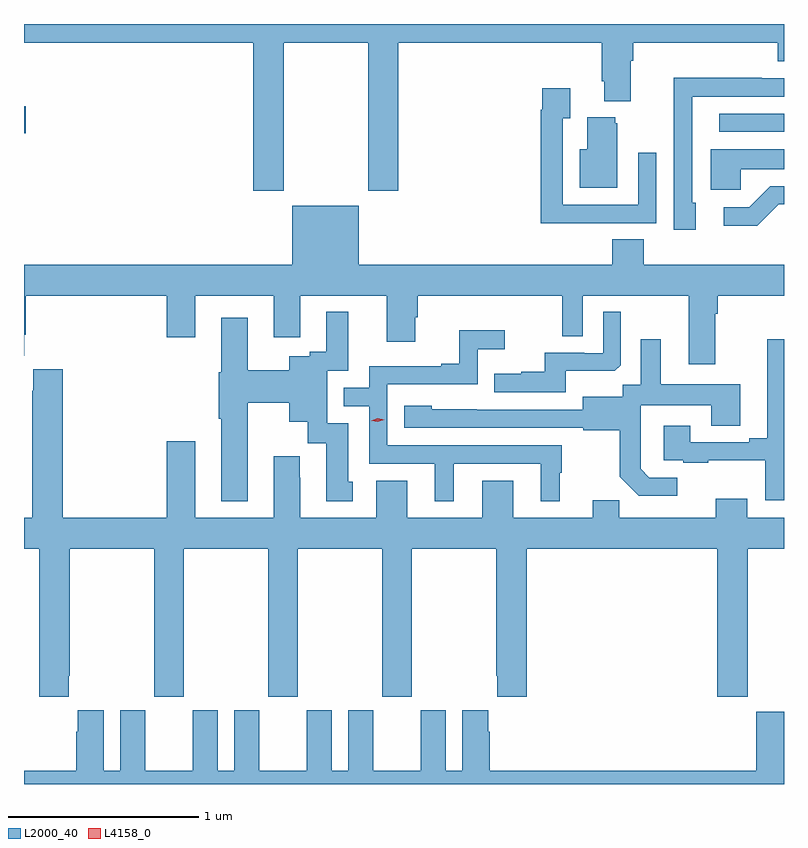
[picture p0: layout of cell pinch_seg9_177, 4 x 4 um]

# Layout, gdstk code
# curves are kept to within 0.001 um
import gdstk
lib = gdstk.Library(unit=1e-6, precision=1e-09)
def R(c, l, rs):  # rectangles x0, y0, x1, y1
    for r in rs: c.add(gdstk.rectangle(r[:2], r[2:], *l))
def P(c, l, *ps):  # polygons
    for p in ps: c.add(gdstk.Polygon(p, *l))
L2000_40 = (2000, 40)
L4158_0 = (4158, 0)

pinch_seg9_177 = lib.new_cell('pinch_seg9_177')
R(pinch_seg9_177, L2000_40, [(791.543,1187.951,791.551,1188.093), (795.201,1187.958,795.543,1188.054)])
P(pinch_seg9_177, L2000_40, [(791.543,1188.428),(792.749,1188.428),(792.749,1187.649),(792.909,1187.649),(792.909,1188.428),(793.354,1188.428),(793.354,1187.649),(793.514,1187.649),(793.514,1188.428),(794.585,1188.428),(794.585,1188.226),(794.597,1188.226),(794.597,1188.119),(794.737,1188.119),(794.737,1188.332),(794.75,1188.332),(794.75,1188.428),(795.509,1188.428),(795.509,1188.329),(795.543,1188.329),(795.543,1188.526),(791.543,1188.526)],
  [(795.079,1187.586),(795.06,1187.586),(795.06,1187.905),(795.061,1187.905),(795.061,1188.144),(795.543,1188.144),(795.543,1188.24),(795.425,1188.24),(795.425,1188.242),(794.962,1188.242),(794.962,1187.935),(794.964,1187.935),(794.964,1187.442),(795.079,1187.442)],
  [(794.555,1187.478),(794.871,1187.478),(794.871,1187.848),(794.775,1187.848),(794.775,1187.574),(794.379,1187.574),(794.379,1188.031),(794.419,1188.031),(794.419,1188.187),(794.271,1188.187),(794.271,1188.074),(794.263,1188.074),(794.263,1187.477),(794.555,1187.477)],
  [(794.665,1188.003),(794.654,1188.003),(794.654,1188.034),(794.507,1188.034),(794.507,1187.866),(794.468,1187.866),(794.468,1187.663),(794.665,1187.663)],
  [(795.315,1187.762),(795.543,1187.762),(795.543,1187.866),(795.158,1187.866),(795.158,1187.654),(795.315,1187.654)],
  [(795.516,1187.577),(795.543,1187.577),(795.543,1187.673),(795.47,1187.673),(795.359,1187.562),(795.225,1187.562),(795.225,1187.465),(795.403,1187.465)],
  [(791.543,1186.779),(791.545,1186.779),(791.545,1186.891),(791.552,1186.891),(791.552,1187.096),(792.293,1187.096),(792.293,1186.878),(792.445,1186.878),(792.445,1187.096),(792.857,1187.096),(792.857,1186.878),(792.997,1186.878),(792.997,1187.096),(793.451,1187.096),(793.451,1186.854),(793.603,1186.854),(793.603,1186.983),(793.616,1186.983),(793.616,1187.096),(794.376,1187.096),(794.376,1186.882),(794.484,1186.882),(794.484,1187.096),(795.041,1187.096),(795.041,1186.734),(795.181,1186.734),(795.181,1187),(795.194,1187),(795.194,1187.096),(795.543,1187.096),(795.543,1187.26),(794.804,1187.26),(794.804,1187.393),(794.639,1187.393),(794.639,1187.26),(793.306,1187.26),(793.306,1187.569),(792.956,1187.569),(792.956,1187.26),(791.543,1187.26)],
  [(794.395,1186.7),(794.653,1186.7),(794.685,1186.731),(794.685,1187.011),(794.592,1187.011),(794.592,1186.794),(794.492,1186.794),(794.492,1186.797),(794.285,1186.797),(794.285,1186.696),(794.161,1186.696),(794.161,1186.684),(794.017,1186.684),(794.017,1186.587),(794.395,1186.587)],
  [(792.721,1186.532),(792.938,1186.532),(792.938,1186.433),(793.037,1186.433),(793.037,1186.32),(793.133,1186.32),(793.133,1186.014),(793.273,1186.014),(793.273,1186.116),(793.249,1186.116),(793.249,1186.425),(793.14,1186.425),(793.14,1186.701),(793.249,1186.701),(793.249,1187.011),(793.133,1187.011),(793.133,1186.802),(793.047,1186.802),(793.047,1186.777),(792.938,1186.777),(792.938,1186.704),(792.721,1186.704),(792.721,1186.981),(792.581,1186.981),(792.581,1186.692),(792.569,1186.692),(792.569,1186.448),(792.581,1186.448),(792.581,1186.013),(792.721,1186.013)],
  [(793.804,1186.212),(794.264,1186.212),(794.264,1186.013),(794.362,1186.013),(794.362,1186.164),(794.374,1186.164),(794.374,1186.308),(793.455,1186.308),(793.455,1186.629),(793.932,1186.629),(793.932,1186.814),(794.074,1186.814),(794.074,1186.913),(793.834,1186.913),(793.834,1186.738),(793.739,1186.738),(793.739,1186.725),(793.359,1186.725),(793.359,1186.611),(793.226,1186.611),(793.226,1186.515),(793.359,1186.515),(793.359,1186.212),(793.706,1186.212),(793.706,1186.013),(793.804,1186.013)],
  [(795.543,1186.867),(795.455,1186.867),(795.455,1186.345),(795.359,1186.345),(795.359,1186.326),(795.049,1186.326),(795.049,1186.411),(794.909,1186.411),(794.909,1186.23),(795.013,1186.23),(795.013,1186.218),(795.145,1186.218),(795.145,1186.229),(795.444,1186.229),(795.444,1186.02),(795.543,1186.02)],
  [(794.98,1186.137),(794.835,1186.137),(794.788,1186.184),(794.788,1186.279),(794.79,1186.279),(794.79,1186.52),(795.161,1186.52),(795.161,1186.411),(795.313,1186.411),(795.313,1186.63),(794.893,1186.63),(794.893,1186.867),(794.789,1186.867),(794.789,1186.628),(794.694,1186.628),(794.694,1186.564),(794.483,1186.564),(794.483,1186.497),(793.689,1186.498),(793.689,1186.516),(793.545,1186.516),(793.545,1186.401),(794.487,1186.401),(794.487,1186.389),(794.679,1186.389),(794.679,1186.143),(794.779,1186.043),(794.98,1186.043)],
  [(792.984,1185.764),(793.429,1185.764),(793.429,1184.985),(793.584,1184.985),(793.584,1185.764),(794.029,1185.764),(794.029,1185.097),(794.033,1185.097),(794.033,1184.985),(794.189,1184.985),(794.189,1185.764),(795.191,1185.764),(795.191,1184.985),(795.351,1184.985),(795.351,1185.764),(795.543,1185.764),(795.543,1185.928),(795.349,1185.928),(795.349,1186.027),(795.185,1186.027),(795.185,1185.928),(794.675,1185.928),(794.675,1186.019),(794.537,1186.019),(794.537,1185.928),(794.119,1185.928),(794.119,1186.123),(793.955,1186.123),(793.955,1185.928),(793.561,1185.928),(793.561,1186.123),(793.397,1186.123),(793.397,1185.928),(792.997,1185.928),(792.997,1186.139),(792.994,1186.139),(792.994,1186.252),(792.857,1186.252),(792.857,1185.928),(792.445,1185.928),(792.445,1186.33),(792.293,1186.33),(792.293,1185.928),(791.747,1185.928),(791.747,1186.708),(791.591,1186.708),(791.591,1186.595),(791.587,1186.595),(791.587,1185.928),(791.543,1185.928),(791.543,1185.764),(791.624,1185.764),(791.624,1184.985),(791.779,1184.985),(791.779,1185.097),(791.784,1185.097),(791.784,1185.764),(792.229,1185.764),(792.229,1184.985),(792.384,1184.985),(792.384,1185.764),(792.829,1185.764),(792.829,1184.985),(792.984,1184.985)],
  [(795.543,1184.905),(795.398,1184.905),(795.398,1184.596),(793.994,1184.596),(793.994,1184.801),(793.987,1184.801),(793.987,1184.914),(793.85,1184.914),(793.85,1184.596),(793.762,1184.596),(793.762,1184.914),(793.631,1184.914),(793.631,1184.596),(793.381,1184.596),(793.381,1184.914),(793.25,1184.914),(793.25,1184.596),(793.162,1184.596),(793.162,1184.914),(793.031,1184.914),(793.031,1184.596),(792.781,1184.596),(792.781,1184.914),(792.65,1184.914),(792.65,1184.596),(792.562,1184.596),(792.562,1184.914),(792.431,1184.914),(792.431,1184.596),(792.181,1184.596),(792.181,1184.914),(792.05,1184.914),(792.05,1184.596),(791.962,1184.596),(791.962,1184.914),(791.825,1184.914),(791.825,1184.801),(791.819,1184.801),(791.819,1184.596),(791.543,1184.596),(791.543,1184.526),(795.543,1184.526)])
P(pinch_seg9_177, L4158_0, [(793.406,1186.432),(793.371,1186.439),(793.37,1186.439),(793.371,1186.439),(793.404,1186.452),(793.44,1186.444),(793.44,1186.444),(793.44,1186.444)])

lib.write_gds('pinch_seg9_177.gds')
